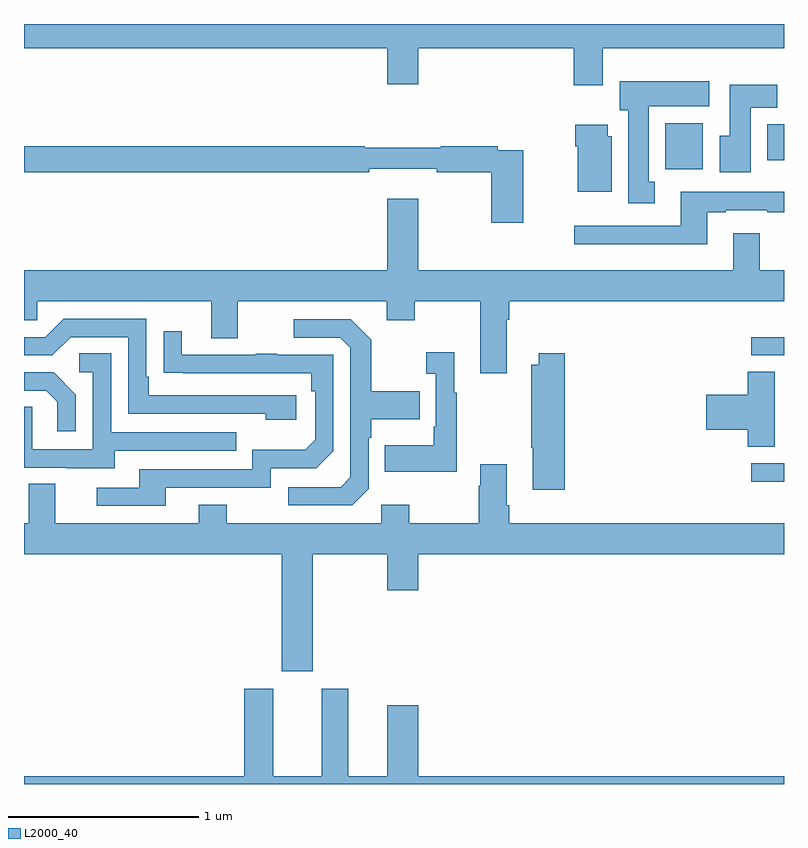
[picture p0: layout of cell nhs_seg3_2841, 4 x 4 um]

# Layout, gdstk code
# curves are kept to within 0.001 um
import gdstk
lib = gdstk.Library(unit=1e-6, precision=1e-09)
def R(c, l, rs):  # rectangles x0, y0, x1, y1
    for r in rs: c.add(gdstk.rectangle(r[:2], r[2:], *l))
def P(c, l, *ps):  # polygons
    for p in ps: c.add(gdstk.Polygon(p, *l))
L2000_40 = (2000, 40)

nhs_seg3_2841 = lib.new_cell('nhs_seg3_2841')
R(nhs_seg3_2841, L2000_40, [(262.827,675.991,263,676.089), (262.827,676.656,263,676.752), (262.376,677.636,262.573,677.878), (262.913,677.684,263,677.872)])
P(nhs_seg3_2841, L2000_40, [(262.045,678.272),(263,678.272),(263,678.4),(259,678.4),(259,678.272),(260.912,678.272),(260.912,678.084),(261.076,678.084),(261.076,678.272),(261.893,678.272),(261.893,678.078),(262.045,678.078)],
  [(262.321,677.57),(262.288,677.57),(262.288,677.966),(262.606,677.966),(262.606,678.1),(262.136,678.1),(262.136,677.946),(262.181,677.946),(262.181,677.457),(262.321,677.457)],
  [(262.825,677.96),(262.964,677.96),(262.964,678.079),(262.715,678.079),(262.715,677.812),(262.661,677.812),(262.661,677.619),(262.825,677.619)],
  [(262.093,677.808),(262.072,677.808),(262.072,677.869),(261.902,677.869),(261.902,677.756),(261.914,677.756),(261.914,677.516),(262.093,677.516)],
  [(261.628,677.736),(261.494,677.736),(261.494,677.756),(261.194,677.756),(261.194,677.749),(260.794,677.749),(260.794,677.756),(259,677.756),(259,677.62),(260.816,677.62),(260.816,677.639),(261.172,677.639),(261.172,677.62),(261.458,677.62),(261.458,677.355),(261.628,677.355)],
  [(262.597,677.409),(262.693,677.409),(262.693,677.421),(262.913,677.421),(262.913,677.409),(263,677.409),(263,677.518),(262.921,677.518),(262.921,677.517),(262.457,677.517),(262.457,677.337),(261.897,677.337),(261.897,677.24),(262.597,677.24)],
  [(261.541,676.844),(261.554,676.844),(261.554,676.94),(263,676.94),(263,677.104),(262.873,677.104),(262.873,677.299),(262.733,677.299),(262.733,677.104),(261.076,677.104),(261.076,677.479),(260.912,677.479),(260.912,677.104),(259,677.104),(259,676.842),(259.071,676.842),(259.071,676.94),(259.985,676.94),(259.985,676.746),(260.125,676.746),(260.125,676.94),(260.909,676.94),(260.909,676.841),(261.057,676.841),(261.057,676.94),(261.401,676.94),(261.401,676.563),(261.541,676.563)],
  [(260.434,676.446),(259.657,676.446),(259.657,676.543),(259.644,676.543),(259.644,676.848),(259.209,676.848),(259.113,676.752),(259,676.752),(259,676.656),(259.149,676.656),(259.245,676.752),(259.548,676.752),(259.548,676.35),(260.273,676.35),(260.273,676.316),(260.434,676.316)],
  [(260.814,675.954),(260.814,676.223),(260.827,676.223),(260.827,676.319),(261.083,676.319),(261.083,676.467),(260.827,676.467),(260.827,676.739),(260.721,676.845),(260.421,676.845),(260.421,676.749),(260.664,676.749),(260.718,676.695),(260.718,676.014),(260.667,675.963),(260.391,675.963),(260.391,675.867),(260.727,675.867)],
  [(259.747,675.96),(260.298,675.96),(260.298,676.062),(260.538,676.062),(260.628,676.152),(260.628,676.659),(260.333,676.659),(260.333,676.664),(260.221,676.664),(260.221,676.659),(259.831,676.659),(259.831,676.783),(259.735,676.783),(259.735,676.564),(260.512,676.563),(260.512,676.466),(260.532,676.466),(260.532,676.212),(260.479,676.159),(260.202,676.159),(260.202,676.056),(259.607,676.056),(259.607,675.96),(259.383,675.96),(259.383,675.864),(259.747,675.864)],
  [(261.277,676.459),(261.265,676.459),(261.265,676.672),(261.117,676.672),(261.117,676.559),(261.168,676.559),(261.168,676.279),(261.156,676.279),(261.156,676.183),(260.899,676.183),(260.899,676.043),(261.277,676.043)],
  [(259.477,676.155),(260.117,676.155),(260.117,676.251),(259.458,676.251),(259.458,676.667),(259.29,676.667),(259.29,676.566),(259.362,676.566),(259.362,676.161),(259.044,676.161),(259.044,676.385),(259,676.385),(259,676.065),(259.223,676.065),(259.223,676.061),(259.477,676.061)],
  [(261.845,676.666),(261.71,676.666),(261.71,676.606),(261.67,676.606),(261.67,676.171),(261.677,676.171),(261.677,675.948),(261.845,675.948)],
  [(262.951,676.571),(262.808,676.571),(262.808,676.448),(262.59,676.448),(262.59,676.265),(262.808,676.265),(262.808,676.174),(262.951,676.174)],
  [(259.272,676.45),(259.156,676.566),(259,676.566),(259,676.47),(259.118,676.47),(259.175,676.413),(259.175,676.257),(259.272,676.257)],
  [(260.521,675.608),(260.912,675.608),(260.912,675.42),(261.076,675.42),(261.076,675.608),(263,675.608),(263,675.772),(261.554,675.772),(261.554,675.868),(261.541,675.868),(261.541,676.084),(261.401,676.084),(261.401,675.971),(261.394,675.971),(261.394,675.772),(261.027,675.772),(261.027,675.871),(260.88,675.871),(260.88,675.772),(260.067,675.772),(260.067,675.871),(259.919,675.871),(259.919,675.772),(259.165,675.772),(259.165,675.98),(259.025,675.98),(259.025,675.772),(259,675.772),(259,675.608),(260.357,675.608),(260.357,674.994),(260.521,674.994)],
  [(263,674.44),(261.076,674.44),(261.076,674.815),(260.912,674.815),(260.912,674.44),(260.707,674.44),(260.707,674.902),(260.567,674.902),(260.567,674.44),(260.311,674.44),(260.311,674.902),(260.159,674.902),(260.159,674.44),(259,674.44),(259,674.4),(263,674.4)])

lib.write_gds('nhs_seg3_2841.gds')
